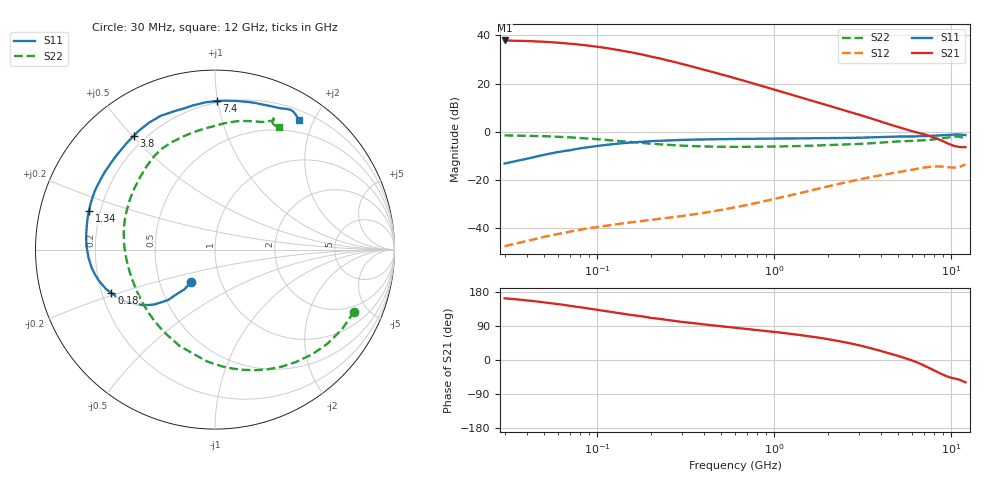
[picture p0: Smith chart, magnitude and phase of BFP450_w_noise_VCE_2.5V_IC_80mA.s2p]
! Infineon Technologies  Discrete & RF Semiconductors
! BFP450
! VCE =  2.5 V,  IC =  80 mA
! Common Emitter S-Parameters:  Nov 2015
# GHz  S  MA  R  50
!  f  S11  S21  S12  S22
! GHz  MAG  ANG  MAG  ANG  MAG  ANG  MAG  ANG
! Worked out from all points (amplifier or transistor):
!   239 points, 30 MHz to 12 GHz, reference 50 ohm
!   highest |S21| = 37.9 dB at 30 MHz (marker M1)
!   |S21| within 3 dB of that: start of sweep to 109.2 MHz
!   unconditionally stable (mu >= 1): 970.6 MHz to end of sweep
!   at 300 MHz: K = 0.66, MSG = 31.5 dB, |S12| = -34.8 dB
!   at 1.88 GHz: K = 1.09, MAG = 15.5 dB, |S12| = -23.1 dB
!   at 12 GHz: K = 1.08, MAG = 1.8 dB, |S12| = -13.5 dB
!   lowest NFmin = 1.90 dB at 450 MHz
!   S11 on the Smith chart (normalised r, x): 30 MHz: 0.72, -0.27; 180 MHz: 0.24, -0.19; 1.34 GHz: 0.16, +0.15; 3.8 GHz: 0.16, +0.51; 7.4 GHz: 0.19, +1.00; 12 GHz: 0.32, +1.79
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0.03  0.2218 -126.5  78.53 162.8  0.0043 80.4  0.8488 -24.0
0.04  0.2777 -127.5  76.39 157.4  0.0055 75.8  0.8351 -32.1
0.05  0.3352 -131.1  73.8 152.1  0.0067 69.7  0.8172 -39.9
0.06  0.3829 -132.9  70.66 147.7  0.0077 68.5  0.796 -47.1
0.07  0.417 -135.4  67.42 143.0  0.0086 65.6  0.7728 -53.9
0.085  0.4716 -139.3  62.7 137.5  0.0098 62.6  0.7387 -63.3
0.1  0.5135 -143.2  58.14 132.4  0.0107 59.7  0.7076 -71.7
0.12  0.5541 -147.7  52.63 126.7  0.0118 56.8  0.67 -81.6
0.15  0.6007 -153.1  45.58 119.7  0.0132 54.5  0.6245 -94.1
0.18  0.626 -157.3  40.04 115.1  0.0143 53.3  0.5877 -103.3
0.2  0.6446 -159.9  36.52 111.2  0.015 52.6  0.5725 -110.0
0.24  0.6636 -163.8  31.52 106.7  0.0163 52.3  0.5452 -119.3
0.3  0.684 -168.5  25.65 100.6  0.0181 52.6  0.5209 -130.7
0.36  0.6954 -171.9  21.63 96.5  0.0199 53.7  0.5067 -138.9
0.6  0.7155 178.9  12.92 85.0  0.0274 57.3  0.4908 -159.1
0.9  0.7243 171.6  8.419 76.4  0.0374 58.8  0.4954 -172.4
1.34  0.7339 163.0  5.484 67.0  0.0522 57.3  0.509 174.8
1.64  0.7404 157.9  4.407 61.5  0.0622 55.0  0.5192 168.0
3.8  0.7793 125.4  1.743 26.8  0.1225 31.1  0.5927 131.6
4.5  0.797 117.4  1.423 17.0  0.1367 23.9  0.6206 123.2
7.4  0.8284 89.2  0.843 -19.8  0.1875 -6.7  0.6808 93.1
12  0.8599 57.2  0.484 -58.6  0.2118 -41.0  0.7697 62.2
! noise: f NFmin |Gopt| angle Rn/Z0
0.45  1.9  0.6  -172  0.07
0.9  1.96  0.63  -166  0.08
1.9  2.06  0.65  -150  0.14
2.4  2.15  0.65  -141  0.2
